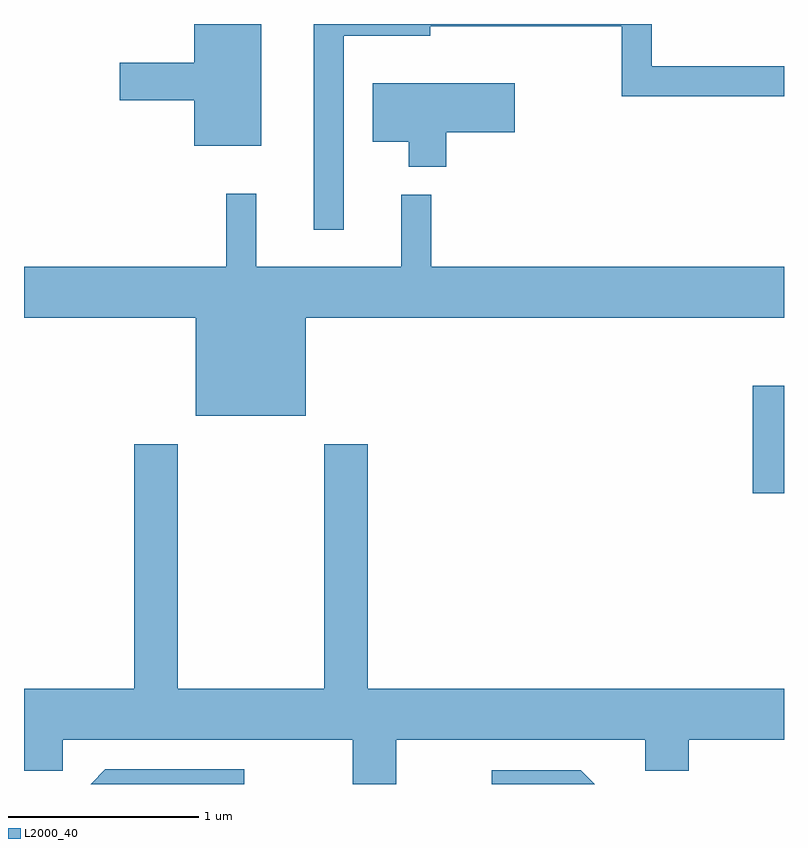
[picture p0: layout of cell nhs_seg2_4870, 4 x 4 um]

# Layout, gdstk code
import gdstk
lib = gdstk.Library(unit=1e-6, precision=1e-09)
def R(c, l, rs):  # rectangles x0, y0, x1, y1
    for r in rs: c.add(gdstk.rectangle(r[:2], r[2:], *l))
def P(c, l, *ps):  # polygons
    for p in ps: c.add(gdstk.Polygon(p, *l))
L2000_40 = (2000, 40)

nhs_seg2_4870 = lib.new_cell('nhs_seg2_4870')
R(nhs_seg2_4870, L2000_40, [(331.446,1107.331,331.611,1107.899)])
P(nhs_seg2_4870, L2000_40, [(329.294,1109.741),(329.749,1109.741),(329.749,1109.791),(330.756,1109.791),(330.756,1109.421),(331.611,1109.421),(331.611,1109.579),(330.914,1109.579),(330.914,1109.802),(329.136,1109.802),(329.136,1108.718),(329.294,1108.718)],
  [(328.859,1109.802),(328.506,1109.802),(328.506,1109.599),(328.116,1109.599),(328.116,1109.401),(328.506,1109.401),(328.506,1109.161),(328.859,1109.161)],
  [(329.834,1109.231),(330.194,1109.231),(330.194,1109.489),(329.446,1109.489),(329.446,1109.181),(329.636,1109.181),(329.636,1109.051),(329.834,1109.051)],
  [(329.094,1108.256),(331.611,1108.256),(331.611,1108.524),(329.754,1108.524),(329.754,1108.903),(329.596,1108.903),(329.596,1108.524),(328.834,1108.524),(328.834,1108.908),(328.676,1108.908),(328.676,1108.524),(327.611,1108.524),(327.611,1108.256),(328.516,1108.256),(328.516,1107.741),(329.094,1107.741)],
  [(329.569,1106.036),(330.881,1106.036),(330.881,1105.871),(331.109,1105.871),(331.109,1106.036),(331.611,1106.036),(331.611,1106.304),(329.419,1106.304),(329.419,1107.589),(329.191,1107.589),(329.191,1106.304),(328.419,1106.304),(328.419,1107.589),(328.191,1107.589),(328.191,1106.304),(327.611,1106.304),(327.611,1105.871),(327.814,1105.871),(327.814,1106.036),(329.341,1106.036),(329.341,1105.802),(329.569,1105.802)],
  [(328.769,1105.879),(328.039,1105.879),(327.962,1105.802),(328.769,1105.802)],
  [(330.542,1105.874),(330.073,1105.874),(330.073,1105.802),(330.614,1105.802)])

lib.write_gds('nhs_seg2_4870.gds')
